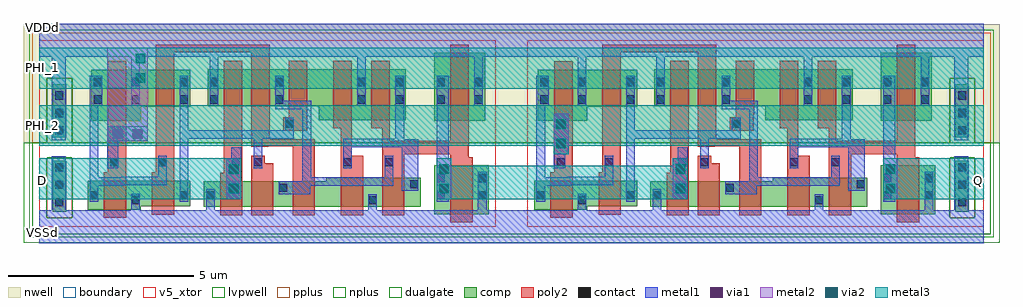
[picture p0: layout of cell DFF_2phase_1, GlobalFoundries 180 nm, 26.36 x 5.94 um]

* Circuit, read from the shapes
.subckt DFF_2phase_1 D PHI_1 PHI_2 Q VDDd VSSd
XM1 VSSd PHI_1 n1 VSSd nfet_05v0 w=0.79u l=0.6u
XM2 n2 n1 VSSd VSSd nfet_05v0 w=0.7u l=0.6u
XM3 n3 D VSSd VSSd nfet_05v0 w=0.7u l=0.6u
XM4 n4 n2 n3 VSSd nfet_05v0 w=0.7u l=0.6u
XM5 n5 n1 n4 VSSd nfet_05v0 w=0.7u l=0.6u
XM6 VSSd n6 n5 VSSd nfet_05v0 w=0.79u l=0.6u
XM7 n6 n4 VSSd VSSd nfet_05v0 w=0.79u l=0.6u
XM8 VSSd n4 gf180mcu_fd_sc_mcu9t5v0__latq_1_4/D VSSd nfet_05v0 w=1.32u l=0.6u
XM9 VSSd PHI_2 n7 VSSd nfet_05v0 w=0.79u l=0.6u
XM10 n8 n7 VSSd VSSd nfet_05v0 w=0.7u l=0.6u
XM11 n9 gf180mcu_fd_sc_mcu9t5v0__latq_1_4/D VSSd VSSd nfet_05v0 w=0.7u l=0.6u
XM12 n10 n8 n9 VSSd nfet_05v0 w=0.7u l=0.6u
XM13 n11 n7 n10 VSSd nfet_05v0 w=0.7u l=0.6u
XM14 VSSd n12 n11 VSSd nfet_05v0 w=0.79u l=0.6u
XM15 n12 n10 VSSd VSSd nfet_05v0 w=0.79u l=0.6u
XM16 VSSd n10 Q VSSd nfet_05v0 w=1.32u l=0.6u
XM17 VDDd PHI_1 n1 VDDd pfet_05v0 w=1.38u l=0.5u
XM18 n2 n1 VDDd VDDd pfet_05v0 w=1u l=0.5u
XM19 n13 D VDDd VDDd pfet_05v0 w=1u l=0.5u
XM20 n4 n1 n13 VDDd pfet_05v0 w=1u l=0.5u
XM21 n14 n2 n4 VDDd pfet_05v0 w=1u l=0.5u
XM22 VDDd n6 n14 VDDd pfet_05v0 w=1.38u l=0.5u
XM23 n6 n4 VDDd VDDd pfet_05v0 w=1.38u l=0.5u
XM24 VDDd n4 gf180mcu_fd_sc_mcu9t5v0__latq_1_4/D VDDd pfet_05v0 w=1.83u l=0.5u
XM25 VDDd PHI_2 n7 VDDd pfet_05v0 w=1.38u l=0.5u
XM26 n8 n7 VDDd VDDd pfet_05v0 w=1u l=0.5u
XM27 n15 gf180mcu_fd_sc_mcu9t5v0__latq_1_4/D VDDd VDDd pfet_05v0 w=1u l=0.5u
XM28 n10 n7 n15 VDDd pfet_05v0 w=1u l=0.5u
XM29 n16 n8 n10 VDDd pfet_05v0 w=1u l=0.5u
XM30 VDDd n12 n16 VDDd pfet_05v0 w=1.38u l=0.5u
XM31 n12 n10 VDDd VDDd pfet_05v0 w=1.38u l=0.5u
XM32 VDDd n10 Q VDDd pfet_05v0 w=1.83u l=0.5u
.ends

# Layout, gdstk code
from math import pi, radians
import gdstk
lib = gdstk.Library(unit=1e-6, precision=5e-09)
def R(c, l, rs):  # rectangles x0, y0, x1, y1
    for r in rs: c.add(gdstk.rectangle(r[:2], r[2:], *l))
def A(c, l, x, y, w, h, nx, ny, dx, dy):  # array of equal rectangles
    R(c, l, [(x+i*dx, y+j*dy, x+i*dx+w, y+j*dy+h) for i in range(nx) for j in range(ny)])
def P(c, l, *ps):  # polygons
    for p in ps: c.add(gdstk.Polygon(p, *l))
boundary = (0, 0)
nwell = (21, 0)
comp = (22, 0)
poly2 = (30, 0)
pplus = (31, 0)
nplus = (32, 0)
contact = (33, 0)
metal1 = (34, 0)
via1 = (35, 0)
metal2 = (36, 0)
via2 = (38, 0)
metal3 = (42, 0)
dualgate = (55, 0)
v5_xtor = (112, 1)
lvpwell = (204, 0)

gf180mcu_fd_sc_mcu9t5v0_ = lib.new_cell('gf180mcu_fd_sc_mcu9t5v0__latq_1')
R(gf180mcu_fd_sc_mcu9t5v0_, boundary, [(0,0,11.2,5.04)])
R(gf180mcu_fd_sc_mcu9t5v0_, nwell, [(-0.43,2.265,11.63,5.47)])
R(gf180mcu_fd_sc_mcu9t5v0_, comp, [(9.54,0.345,11.02,1.665), (9.54,2.865,10.92,4.695)])
P(gf180mcu_fd_sc_mcu9t5v0_, comp, [(0.18,0.46),(0.18,1.25),(2.96,1.25),(2.96,0.55),(1.62,0.55),(1.62,0.46)],
  [(0.28,2.865),(0.28,4.245),(2.96,4.245),(2.96,3.245),(1.62,3.245),(1.62,2.865)],
  [(6.42,2.88),(6.42,3.26),(3.42,3.26),(3.42,4.26),(8.78,4.26),(8.78,2.88)],
  [(3.32,0.535),(3.32,1.235),(6.62,1.235),(6.62,1.325),(9.18,1.325),(9.18,0.535)])
P(gf180mcu_fd_sc_mcu9t5v0_, poly2, [(0.62,0.24),(0.62,1.47),(0.72,1.47),(0.72,4.465),(1.22,4.465),(1.22,0.24)],
  [(3.76,0.315),(3.76,1.455),(3.86,1.455),(3.86,4.48),(4.36,4.48),(4.36,0.315)],
  [(4.6,0.315),(4.6,1.925),(4.96,1.925),(4.96,1.715),(5.2,1.715),(5.2,0.315)],
  [(5.46,2.6),(5.46,2.96),(5.62,2.96),(5.62,4.48),(6.12,4.48),(6.12,3.04),(6.115,3.04),(6.115,2.6)],
  [(5.72,0.315),(5.72,2.16),(5.055,2.16),(5.055,2.165),(4.6,2.165),(4.6,4.72),(2.52,4.72),(2.52,0.33),(1.92,0.33),(1.92,1.47),(2.02,1.47),(2.02,4.92),(5.1,4.92),(5.1,2.36),(6.32,2.36),(6.32,0.315)],
  [(7.02,0.315),(7.02,2.66),(6.82,2.66),(6.82,4.48),(7.32,4.48),(7.32,1.925),(7.62,1.925),(7.62,0.315)],
  [(9.98,0.125),(9.98,1.965),(8.74,1.965),(8.74,0.315),(8.14,0.315),(8.14,2.66),(7.84,2.66),(7.84,4.48),(8.34,4.48),(8.34,2.325),(9.98,2.325),(9.98,4.915),(10.48,4.915),(10.48,1.885),(10.58,1.885),(10.58,0.125)])
R(gf180mcu_fd_sc_mcu9t5v0_, pplus, [(-0.2,2.265,11.4,5.24)])
R(gf180mcu_fd_sc_mcu9t5v0_, nplus, [(-0.2,-0.2,11.4,2.265)])
R(gf180mcu_fd_sc_mcu9t5v0_, contact, [(7.77,0.605,7.99,0.825), (1.37,0.615,1.59,0.835), (0.25,0.74,0.47,0.96), (2.67,0.74,2.89,0.96), (3.39,0.74,3.61,0.96), (9.61,0.74,9.83,0.96), (10.73,0.74,10.95,0.96), (5.35,0.945,5.57,1.165), (8.89,1.035,9.11,1.255), (9.61,1.21,9.83,1.43), (10.73,1.21,10.95,1.43), (0.79,1.635,1.01,1.855), (2.09,1.635,2.31,1.855), (4.07,1.635,4.29,1.855), (4.67,1.635,4.89,1.855), (7.09,1.635,7.31,1.855), (8.21,1.635,8.43,1.855), (5.53,2.67,5.75,2.89), (0.35,3.33,0.57,3.55), (1.37,3.33,1.59,3.55), (2.67,3.33,2.89,3.55), (3.49,3.33,3.71,3.55), (5.25,3.33,5.47,3.55), (7.47,3.33,7.69,3.55), (8.49,3.33,8.71,3.55), (9.61,3.33,9.83,3.55), (10.63,3.33,10.85,3.55), (0.35,3.8,0.57,4.02), (1.37,3.8,1.59,4.02), (2.67,3.8,2.89,4.02), (3.49,3.8,3.71,4.02), (5.25,3.8,5.47,4.02), (7.47,3.8,7.69,4.02), (8.49,3.8,8.71,4.02), (9.61,3.8,9.83,4.02), (10.63,3.8,10.85,4.02)])
R(gf180mcu_fd_sc_mcu9t5v0_, metal1, [(9.605,0.68,9.93,4.08), (4.065,1.21,4.33,2.15), (0.71,1.575,1.015,2.71)])
P(gf180mcu_fd_sc_mcu9t5v0_, metal1, [(0.245,0.68),(0.245,4.08),(0.575,4.08),(0.575,3.27),(0.475,3.27),(0.475,1.345),(1.085,1.345),(1.085,1.355),(2.085,1.355),(2.085,1.915),(2.315,1.915),(2.315,1.125),(1.155,1.125),(1.155,1.115),(0.475,1.115),(0.475,0.68)],
  [(2.665,0.68),(2.665,4.08),(2.895,4.08),(2.895,2.61),(5.525,2.61),(5.525,2.95),(5.755,2.95),(5.755,2.38),(4.895,2.38),(4.895,1.575),(4.665,1.575),(4.665,2.38),(2.895,2.38),(2.895,0.68)],
  [(5.345,0.885),(5.345,1.225),(5.985,1.225),(5.985,3.18),(5.245,3.18),(5.245,4.08),(5.475,4.08),(5.475,3.41),(6.215,3.41),(6.215,1.345),(8.205,1.345),(8.205,1.915),(8.435,1.915),(8.435,1.115),(6.19,1.115),(6.19,0.885)],
  [(8.665,0.975),(8.665,2.145),(7.315,2.145),(7.315,1.575),(7.085,1.575),(7.085,2.375),(8.485,2.375),(8.485,4.08),(8.735,4.08),(8.735,2.365),(9.115,2.365),(9.115,0.975)],
  [(0,-0.45),(0,0.45),(1.365,0.45),(1.365,0.895),(1.595,0.895),(1.595,0.45),(3.385,0.45),(3.385,1.02),(3.615,1.02),(3.615,0.45),(7.765,0.45),(7.765,0.885),(7.995,0.885),(7.995,0.45),(10.725,0.45),(10.725,1.49),(10.955,1.49),(10.955,0.45),(11.2,0.45),(11.2,-0.45)],
  [(1.365,3.27),(1.365,4.59),(0,4.59),(0,5.49),(11.2,5.49),(11.2,4.59),(10.855,4.59),(10.855,3.27),(10.625,3.27),(10.625,4.59),(7.695,4.59),(7.695,3.27),(7.465,3.27),(7.465,4.59),(3.715,4.59),(3.715,3.27),(3.485,3.27),(3.485,4.59),(1.595,4.59),(1.595,3.27)])
R(gf180mcu_fd_sc_mcu9t5v0_, dualgate, [(-0.28,-0.28,11.48,5.32)])
R(gf180mcu_fd_sc_mcu9t5v0_, v5_xtor, [(0,0,11.2,5.04)])
R(gf180mcu_fd_sc_mcu9t5v0_, lvpwell, [(-0.43,-0.43,11.63,2.265)])
gf180mcu_fd_sc_mcu9t5v0_.add(gdstk.Label('D', (4.2,1.4), layer=34, texttype=10))
gf180mcu_fd_sc_mcu9t5v0_.add(gdstk.Label('E', (0.84,1.96), layer=34, texttype=10))
gf180mcu_fd_sc_mcu9t5v0_.add(gdstk.Label('Q', (9.8,2.52), layer=34, texttype=10))
gf180mcu_fd_sc_mcu9t5v0_.add(gdstk.Label('VDD', (5.6,5.49), layer=34, texttype=10))
gf180mcu_fd_sc_mcu9t5v0_.add(gdstk.Label('VSS', (5.6,-0.45), layer=34, texttype=10))
gf180mcu_fd_sc_mcu9t5v0_.add(gdstk.Label('& Vendor GLOBALFOUNDRIES', (0,2), layer=63, texttype=63))
gf180mcu_fd_sc_mcu9t5v0_.add(gdstk.Label('& Product GF018hv5v_green_sc9', (0,1.5), layer=63, texttype=63))
gf180mcu_fd_sc_mcu9t5v0_.add(gdstk.Label('& Version 2015q2v2', (0,1), layer=63, texttype=63))
gf180mcu_fd_sc_mcu9t5v0_.add(gdstk.Label('& Metric 1.00', (0,0.5), layer=63, texttype=63))
gf180mcu_fd_sc_mcu9t5v0_.add(gdstk.Label('VNW', (0.345,3.92), layer=21, texttype=10))
gf180mcu_fd_sc_mcu9t5v0_.add(gdstk.Label('VPW', (0.34,-0.085), layer=204, texttype=10))

via_dev = lib.new_cell('via_dev')
R(via_dev, metal1, [(0,0,0.4,1.1)])
R(via_dev, via1, [(0.07,0.155,0.33,0.415), (0.07,0.685,0.33,0.945)])
R(via_dev, metal2, [(0,0,0.4,1.1)])

c_gf180mcu_fd_sc_mcu9t5v0_ = lib.new_cell('gf180mcu_fd_sc_mcu9t5v0__filltie')
R(c_gf180mcu_fd_sc_mcu9t5v0_, boundary, [(0,0,1.12,5.04)])
R(c_gf180mcu_fd_sc_mcu9t5v0_, nwell, [(-0.43,2.265,1.55,5.47)])
R(c_gf180mcu_fd_sc_mcu9t5v0_, comp, [(0.36,0.41,0.72,1.785), (0.36,2.425,0.72,3.855)])
R(c_gf180mcu_fd_sc_mcu9t5v0_, pplus, [(0.2,0.25,0.88,1.865)])
P(c_gf180mcu_fd_sc_mcu9t5v0_, pplus, [(-0.2,2.265),(-0.2,5.24),(1.32,5.24),(1.32,2.265),(0.88,2.265),(0.88,4.015),(0.2,4.015),(0.2,2.265)])
P(c_gf180mcu_fd_sc_mcu9t5v0_, nplus, [(-0.2,-0.2),(-0.2,2.265),(0.2,2.265),(0.2,4.015),(0.88,4.015),(0.88,1.865),(0.2,1.865),(0.2,0.25),(0.88,0.25),(0.88,4.015),(0.88,2.265),(1.32,2.265),(1.32,-0.2)])
A(c_gf180mcu_fd_sc_mcu9t5v0_, contact, 0.43, 0.555, 0.22, 0.22, 1, 3, 0, 0.47)
A(c_gf180mcu_fd_sc_mcu9t5v0_, contact, 0.43, 2.495, 0.22, 0.22, 1, 3, 0, 0.47)
P(c_gf180mcu_fd_sc_mcu9t5v0_, metal1, [(0,-0.45),(0,0.45),(0.33,0.45),(0.33,1.91),(0.71,1.91),(0.71,0.45),(1.12,0.45),(1.12,-0.45)],
  [(0.33,2.34),(0.33,4.59),(0,4.59),(0,5.49),(1.12,5.49),(1.12,4.59),(0.71,4.59),(0.71,2.34)])
R(c_gf180mcu_fd_sc_mcu9t5v0_, dualgate, [(-0.28,-0.28,1.4,5.32)])
R(c_gf180mcu_fd_sc_mcu9t5v0_, v5_xtor, [(0,0,1.12,5.04)])
R(c_gf180mcu_fd_sc_mcu9t5v0_, lvpwell, [(-0.43,-0.43,1.55,2.265)])
c_gf180mcu_fd_sc_mcu9t5v0_.add(gdstk.Label('VSS', (0.56,-0.45), layer=34, texttype=10))
c_gf180mcu_fd_sc_mcu9t5v0_.add(gdstk.Label('VDD', (0.56,5.49), layer=34, texttype=10))
c_gf180mcu_fd_sc_mcu9t5v0_.add(gdstk.Label('& Vendor GLOBALFOUNDRIES', (0,2), layer=63, texttype=63))
c_gf180mcu_fd_sc_mcu9t5v0_.add(gdstk.Label('& Product GF018hv5v_green_sc9', (0,1.5), layer=63, texttype=63))
c_gf180mcu_fd_sc_mcu9t5v0_.add(gdstk.Label('& Version 2015q2v2', (0,1), layer=63, texttype=63))
c_gf180mcu_fd_sc_mcu9t5v0_.add(gdstk.Label('& Metric 1.00', (0,0.5), layer=63, texttype=63))

via_dev_1 = lib.new_cell('via_dev$1')
R(via_dev_1, metal2, [(0,0,0.4,1.1)])
R(via_dev_1, via2, [(0.07,0.155,0.33,0.415), (0.07,0.685,0.33,0.945)])
R(via_dev_1, metal3, [(0,0,0.4,1.1)])

via_dev_2 = lib.new_cell('via_dev$2')
R(via_dev_2, metal1, [(0,0,0.4,1.1)])
R(via_dev_2, via1, [(0.07,0.155,0.33,0.415), (0.07,0.685,0.33,0.945)])
R(via_dev_2, metal2, [(0,0,0.4,1.1)])
R(via_dev_2, via2, [(0.07,0.155,0.33,0.415), (0.07,0.685,0.33,0.945)])
R(via_dev_2, metal3, [(0,0,0.4,1.1)])

dff_2phase_1 = lib.new_cell('DFF_2phase_1')
R(dff_2phase_1, pplus, [(11.4,2.265,11.86,5.24)])
R(dff_2phase_1, nplus, [(11.4,-0.2,11.86,2.265)])
R(dff_2phase_1, metal1, [(11.2,-0.45,12.06,0.45), (11.2,4.59,12.06,5.49)])
R(dff_2phase_1, metal2, [(0.71,2.31,1.81,4.835)])
R(dff_2phase_1, metal3, [(-1.12,0.745,4.33,1.845), (9.605,0.745,16.39,1.645), (21.665,0.745,24.38,1.845), (-1.12,2.185,24.38,3.285), (-1.12,3.735,24.38,4.835)])
R(dff_2phase_1, dualgate, [(11.48,-0.28,11.78,5.32)])
dff_2phase_1.add(gdstk.Reference(gf180mcu_fd_sc_mcu9t5v0_, (0,0)))
dff_2phase_1.add(gdstk.Reference(via_dev, (1.81,2.31), rotation=pi/2))
dff_2phase_1.add(gdstk.Reference(c_gf180mcu_fd_sc_mcu9t5v0_, (-1.12,0)))
dff_2phase_1.add(gdstk.Reference(c_gf180mcu_fd_sc_mcu9t5v0_, (23.26,0)))
dff_2phase_1.add(gdstk.Reference(gf180mcu_fd_sc_mcu9t5v0_, (12.06,0)))
dff_2phase_1.add(gdstk.Reference(via_dev_1, (1.81,4.835), rotation=pi))
dff_2phase_1.add(gdstk.Reference(via_dev_2, (13.17,3.06), rotation=pi))
dff_2phase_1.add(gdstk.Reference(via_dev_2, (4.33,1.845), rotation=pi))
dff_2phase_1.add(gdstk.Reference(via_dev_2, (10.005,1.845), rotation=pi))
dff_2phase_1.add(gdstk.Reference(via_dev_2, (16.39,1.845), rotation=pi))
dff_2phase_1.add(gdstk.Reference(via_dev_2, (22.065,1.845), rotation=pi))
dff_2phase_1.add(gdstk.Label('VDDd', (-1.025,5.39), layer=34, texttype=10))
dff_2phase_1.add(gdstk.Label('VSSd', (-1.025,-0.155), layer=34, texttype=10))
dff_2phase_1.add(gdstk.Label('PHI_1', (-1.025,4.29), layer=42, texttype=10))
dff_2phase_1.add(gdstk.Label('PHI_2', (-1.025,2.74), layer=42, texttype=10))
dff_2phase_1.add(gdstk.Label('D', (-1.025,1.24), layer=42, texttype=10))
dff_2phase_1.add(gdstk.Label('Q', (24.245,1.24), layer=42, texttype=10))

lib.write_gds('DFF_2phase_1.gds')
